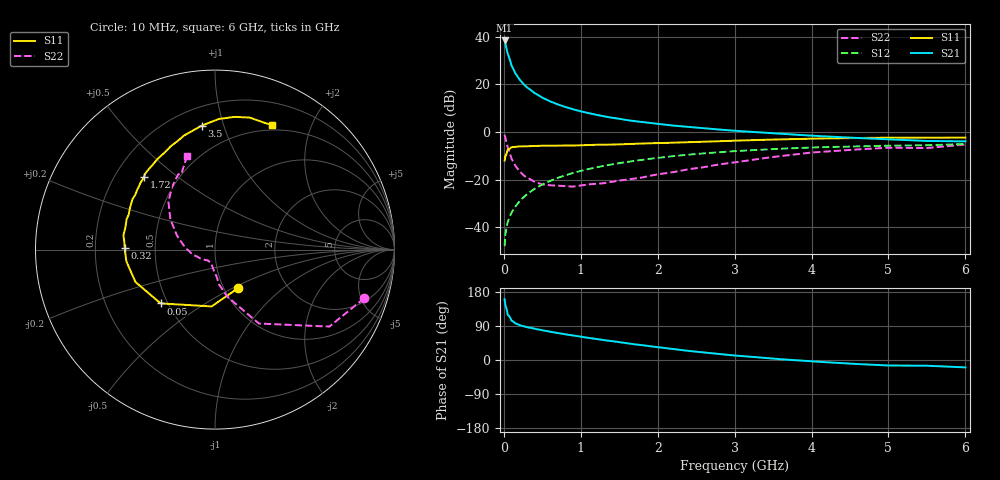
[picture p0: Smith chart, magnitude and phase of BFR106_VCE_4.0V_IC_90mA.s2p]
! Infineon Technologies  Discrete & RF Semiconductors
! BFR106
! VCE =  4.0 V,  IC =  90 mA
! Common Emitter S-Parameters:  Nov 2015
# GHz  S  MA  R  50
!  f  S11  S21  S12  S22
! GHz  MAG  ANG  MAG  ANG  MAG  ANG  MAG  ANG
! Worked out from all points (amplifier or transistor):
!   210 points, 10 MHz to 6 GHz, reference 50 ohm
!   highest |S21| = 38.4 dB at 10 MHz (marker M1)
!   |S21| within 3 dB of that: start of sweep to 32.66 MHz
!   unconditionally stable (mu >= 1): 189 MHz to 2.461 GHz; 5.478 GHz to 5.716 GHz
!   at 185 MHz: K = 1.00, MSG = 26.4 dB, |S12| = -29.8 dB
!   at 1.52 GHz: K = 1.05, MAG = 7.8 dB, |S12| = -13.0 dB
!   at 6 GHz: K = 1.00, MSG = 0.6 dB, |S12| = -5.0 dB
!   S11 on the Smith chart (normalised r, x): 10 MHz: 1.17, -0.53; 50 MHz: 0.46, -0.34; 320 MHz: 0.33, +0.01; 1.72 GHz: 0.32, +0.38; 3.5 GHz: 0.32, +0.85; 6 GHz: 0.44, +1.46
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0.01  0.2502 -58.5  83.64 160.2  0.004 76.6  0.874 -18.1
0.02  0.3173 -93.5  72.36 144.8  0.007 72.1  0.7684 -33.9
0.05  0.4262 -135.3  44.23 119.4  0.0128 62.1  0.4789 -59.3
0.1  0.4783 -157.8  24.89 103.9  0.0202 65.4  0.2736 -75.1
0.15  0.4887 -167.9  16.98 96.6  0.0271 68.8  0.1949 -83.5
0.2  0.4982 -172.6  12.93 92.4  0.0344 71.7  0.1524 -86.4
0.26  0.5004 -177.5  10 88.7  0.0432 73.1  0.1216 -92.0
0.3  0.5022 -179.9  8.66 86.6  0.0489 73.7  0.111 -94.7
0.32  0.5028 179.2  8.237 85.9  0.0519 73.7  0.1067 -95.7
0.4  0.5067 175.4  6.561 82.4  0.064 73.9  0.0901 -100.7
0.5  0.5165 171.1  5.261 78.4  0.0786 73.6  0.079 -105.2
0.6  0.5139 167.8  4.405 74.6  0.0935 72.7  0.0759 -109.2
0.8  0.5208 161.2  3.347 67.8  0.123 70.5  0.0729 -120.4
1.02  0.5276 153.9  2.667 60.9  0.1554 67.5  0.0759 -128.8
1.3  0.5385 145.8  2.132 52.5  0.1944 63.2  0.0842 -141.1
1.72  0.5651 134.6  1.674 40.9  0.2503 56.9  0.1064 -158.7
2.02  0.5844 127.1  1.464 33.4  0.2885 52.1  0.1305 -169.7
3.1  0.6644 103.3  1.037 10.3  0.4045 34.9  0.2426 155.6
3.5  0.6941 96.2  0.939 3.4  0.4405 29.0  0.299 146.1
4.1  0.7311 87.0  0.821 -4.8  0.4777 19.9  0.3797 132.3
5.1  0.7594 74.1  0.691 -14.6  0.5176 7.6  0.4659 115.6
6  0.7625 65.6  0.636 -19.5  0.5601 -1.9  0.5465 106.5
